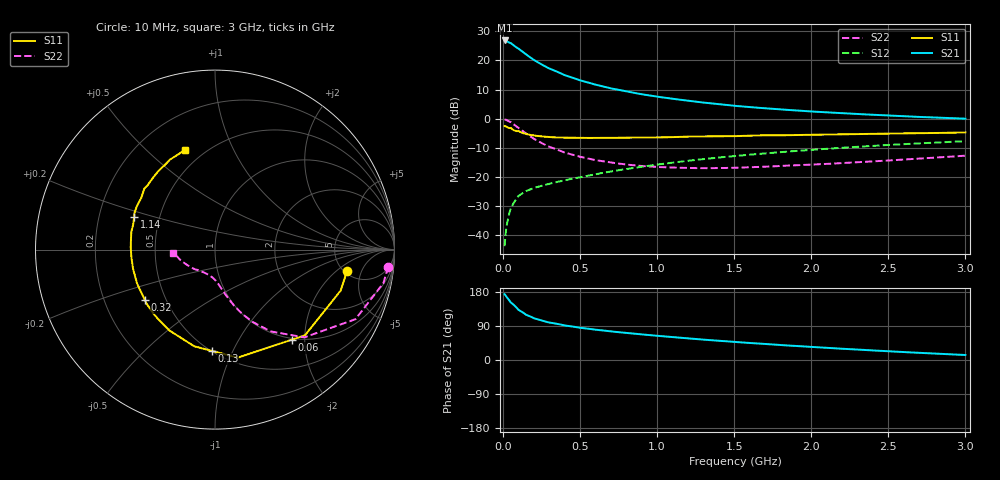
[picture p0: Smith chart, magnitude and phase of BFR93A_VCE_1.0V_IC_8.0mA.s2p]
! Infineon Technologies  Discrete & RF Semiconductors
! BFR93A
! VCE =  1.0 V,  IC =  8.0 mA
! Common Emitter S-Parameters:  Nov 2015
# GHz  S  MA  R  50
!  f  S11  S21  S12  S22
! GHz  MAG  ANG  MAG  ANG  MAG  ANG  MAG  ANG
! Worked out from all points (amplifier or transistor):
!   180 points, 10 MHz to 3 GHz, reference 50 ohm
!   highest |S21| = 26.8 dB at 10 MHz (marker M1)
!   |S21| within 3 dB of that: start of sweep to 104.8 MHz
!   unconditionally stable (mu >= 1): 575.5 MHz to end of sweep
!   at 160 MHz: K = 0.46, MSG = 23.1 dB, |S12| = -24.6 dB
!   at 1.22 GHz: K = 1.12, MAG = 8.0 dB, |S12| = -14.3 dB
!   at 3 GHz: K = 1.03, MAG = 2.8 dB, |S12| = -7.7 dB
!   S11 on the Smith chart (normalised r, x): 10 MHz: 5.29, -2.84; 60 MHz: 0.97, -1.73; 130 MHz: 0.50, -0.83; 320 MHz: 0.38, -0.28; 1.14 GHz: 0.36, +0.17; 3 GHz: 0.40, +0.66
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0.01  0.7456 -9.2  21.98 173.8  0.0065 85.4  0.9702 -5.7
0.02  0.7362 -18.1  21.62 167.9  0.0127 80.6  0.9567 -11.2
0.05  0.6924 -43.6  19.8 151.9  0.0291 69.9  0.8738 -26.3
0.06  0.659 -49.7  18.87 148.7  0.0326 66.2  0.8328 -29.3
0.1  0.6153 -78.1  15.91 132.3  0.0474 57.1  0.6978 -44.5
0.13  0.5644 -91.9  13.81 125.1  0.0533 53.2  0.6074 -50.6
0.15  0.551 -102.1  12.56 119.1  0.0574 51.1  0.5519 -55.7
0.2  0.5172 -119.6  10.19 110.3  0.0647 48.9  0.4517 -62.7
0.24  0.4996 -129.7  8.811 105.2  0.0694 48.4  0.3944 -66.6
0.26  0.4943 -134.1  8.231 102.8  0.0717 48.4  0.3702 -68.3
0.3  0.4857 -141.6  7.255 98.8  0.0763 48.7  0.3298 -71.2
0.32  0.4808 -144.5  6.912 97.6  0.0786 49.1  0.3161 -72.1
0.4  0.4736 -156.3  5.58 91.1  0.0877 50.6  0.262 -76.5
0.52  0.468 -168.3  4.399 84.1  0.1016 52.4  0.2163 -81.1
0.7  0.4696 178.7  3.312 75.4  0.1242 54.3  0.1766 -87.8
0.82  0.4725 172.2  2.866 70.5  0.1395 55.0  0.1614 -92.5
1.02  0.4775 162.6  2.346 63.2  0.1657 55.0  0.1478 -100.6
1.14  0.4866 157.8  2.129 59.2  0.1816 54.6  0.1441 -106.0
1.52  0.503 144.5  1.647 47.1  0.231 52.1  0.1443 -123.1
2.02  0.5301 130.2  1.32 34.1  0.2944 47.4  0.1639 -142.2
2.52  0.555 118.3  1.126 22.7  0.3563 41.3  0.1932 -159.6
3  0.5805 106.9  1.001 13.2  0.4113 34.8  0.2321 -176.0
